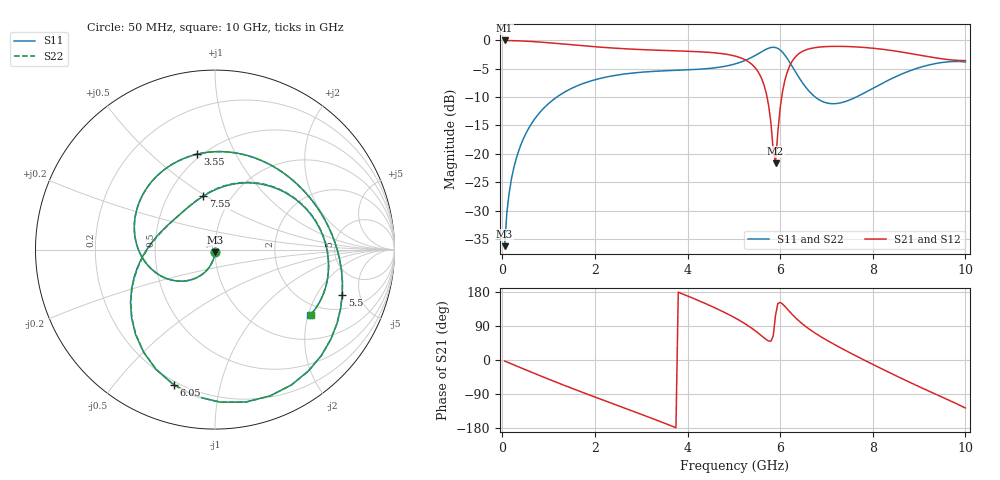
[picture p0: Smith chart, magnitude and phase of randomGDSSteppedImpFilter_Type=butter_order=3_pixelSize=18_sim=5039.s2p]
! freq	dB(S11)	phase(S11)	dB(S12)	phase(S12)
!  dB(S21)	phase(S21)	dB(S22)	phase(S22)
!S-par simulation data
#  GHz  S  DB  R 50
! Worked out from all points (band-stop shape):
!   200 points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, 50 MHz to 10 GHz, reference 50 ohm
!   highest |S21| = 0.00 dB at 50 MHz (marker M1); lowest = -21.7 dB at 5.9 GHz (marker M2)
!   |S21| within 3 dB of the highest: start of sweep to 5.125 GHz; 6.319 GHz to 9.304 GHz (2.984 GHz wide, 38.2 % of centre)
!   lowest |S11| = -36.3 dB at 50 MHz (marker M3), VSWR 1.03, Z = 49.9 - j1.53 ohm
!   |S11| at or under -10 dB: start of sweep to 1.175 GHz; 6.761 GHz to 7.638 GHz (877.3 MHz wide, 12.2 % of centre)
!   |S22| runs from -36.3 to -1.2 dB; largest |S21 - S12| = 0
!   S11 on the Smith chart (normalised r, x): 50 MHz: 1.00, -0.03; 3.55 GHz: 0.48, +0.72; 5.5 GHz: 2.95, -3.40; 6.05 GHz: 0.18, -0.72; 7.55 GHz: 0.74, +0.49; 10 GHz: 1.65, -2.07
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0.05  -36.28 -92.6  -0.00 -2.6  -0.00 -2.6  -36.28 -92.6
0.2  -24.32 -100.7  -0.03 -10.4  -0.03 -10.4  -24.32 -100.7
0.5  -16.57 -116.1  -0.13 -25.7  -0.13 -25.7  -16.57 -116.1
1.15  -10.14 -148.5  -0.51 -57.9  -0.51 -57.9  -10.14 -148.4
1.75  -7.59 -177.0  -0.94 -86.3  -0.94 -86.3  -7.59 -176.9
2.5  -6.08 148.7  -1.40 -120.5  -1.40 -120.5  -6.08 148.8
3.4  -5.40 107.5  -1.74 -161.9  -1.74 -161.9  -5.40 107.5
3.55  -5.34 100.4  -1.78 -169.0  -1.78 -169.0  -5.34 100.4
4.3  -5.05 63.1  -2.02 153.6  -2.02 153.6  -5.05 63.1
5.05  -4.09 18.8  -2.81 109.5  -2.81 109.5  -4.09 18.8
5.5  -2.48 -19.4  -5.23 73.6  -5.23 73.6  -2.48 -19.5
5.7  -1.56 -44.7  -9.31 53.8  -9.31 53.8  -1.55 -44.7
5.9  -1.24 -78.5  -21.65 117.7  -21.65 117.7  -1.24 -78.4
6.05  -2.07 -107.0  -9.09 148.0  -9.09 148.0  -2.07 -106.8
6.2  -3.78 -133.2  -4.59 128.3  -4.59 128.3  -3.78 -132.9
6.4  -6.45 -161.2  -2.36 103.7  -2.36 103.7  -6.45 -160.8
6.7  -9.58 167.0  -1.35 75.4  -1.35 75.4  -9.57 167.8
7.15  -11.16 130.0  -1.05 42.3  -1.05 42.3  -11.16 131.1
7.55  -10.33 102.5  -1.11 16.3  -1.11 16.3  -10.34 103.6
8.35  -6.96 54.2  -1.71 -32.6  -1.71 -32.6  -6.97 55.1
9.1  -4.56 12.6  -2.72 -75.9  -2.72 -75.9  -4.57 13.2
10  -3.81 -34.5  -3.55 -126.6  -3.55 -126.6  -3.82 -34.2
